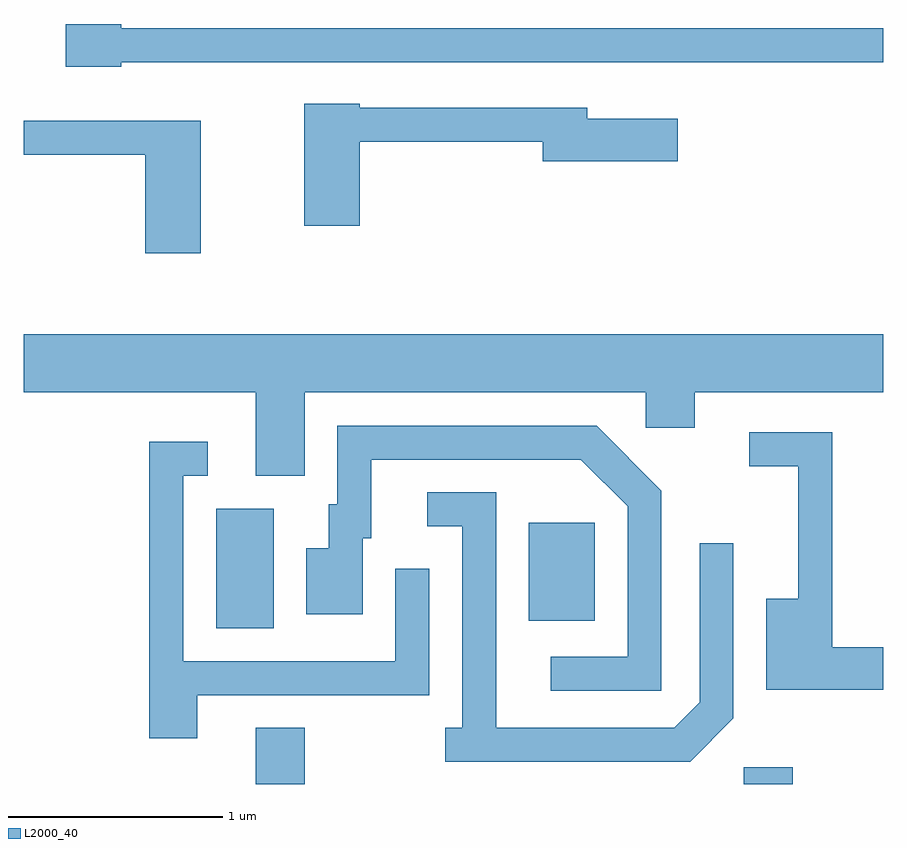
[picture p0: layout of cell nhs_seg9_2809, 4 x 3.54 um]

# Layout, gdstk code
import gdstk
lib = gdstk.Library(unit=1e-6, precision=1e-09)
def R(c, l, rs):  # rectangles x0, y0, x1, y1
    for r in rs: c.add(gdstk.rectangle(r[:2], r[2:], *l))
def P(c, l, *ps):  # polygons
    for p in ps: c.add(gdstk.Polygon(p, *l))
L2000_40 = (2000, 40)

nhs_seg9_2809 = lib.new_cell('nhs_seg9_2809')
R(nhs_seg9_2809, L2000_40, [(268.691,1994.432,268.919,1994.694), (270.961,1994.432,271.189,1994.509), (268.506,1995.156,268.774,1995.714), (269.961,1995.191,270.269,1995.649)])
P(nhs_seg9_2809, L2000_40, [(268.064,1997.791),(271.611,1997.791),(271.611,1997.949),(268.064,1997.949),(268.064,1997.969),(267.806,1997.969),(267.806,1997.771),(268.064,1997.771)],
  [(269.174,1997.421),(270.026,1997.421),(270.026,1997.331),(270.654,1997.331),(270.654,1997.529),(270.234,1997.529),(270.234,1997.579),(269.174,1997.579),(269.174,1997.599),(268.916,1997.599),(268.916,1997.031),(269.174,1997.031)],
  [(268.434,1997.519),(267.611,1997.519),(267.611,1997.361),(268.176,1997.361),(268.176,1996.901),(268.434,1996.901)],
  [(268.919,1996.256),(270.506,1996.256),(270.506,1996.091),(270.734,1996.091),(270.734,1996.256),(271.611,1996.256),(271.611,1996.524),(267.611,1996.524),(267.611,1996.256),(268.691,1996.256),(268.691,1995.866),(268.919,1995.866)],
  [(270.579,1995.797),(270.277,1996.099),(269.071,1996.099),(269.071,1995.734),(269.031,1995.734),(269.031,1995.529),(268.926,1995.529),(268.926,1995.221),(269.189,1995.221),(269.189,1995.576),(269.229,1995.576),(269.229,1995.941),(270.204,1995.941),(270.421,1995.724),(270.421,1995.024),(270.063,1995.024),(270.063,1994.866),(270.579,1994.866)],
  [(271.611,1995.069),(271.374,1995.069),(271.374,1996.069),(270.988,1996.069),(270.988,1995.911),(271.216,1995.911),(271.216,1995.294),(271.066,1995.294),(271.066,1994.871),(271.611,1994.871)],
  [(268.419,1994.846),(269.499,1994.846),(269.499,1995.433),(269.341,1995.433),(269.341,1995.004),(268.354,1995.004),(268.354,1995.866),(268.468,1995.866),(268.468,1996.024),(268.196,1996.024),(268.196,1994.646),(268.419,1994.646)],
  [(270.914,1994.739),(270.914,1995.553),(270.756,1995.553),(270.756,1994.812),(270.639,1994.694),(269.809,1994.694),(269.809,1995.789),(269.488,1995.789),(269.488,1995.631),(269.651,1995.631),(269.651,1994.694),(269.573,1994.694),(269.573,1994.536),(270.712,1994.536)])

lib.write_gds('nhs_seg9_2809.gds')
